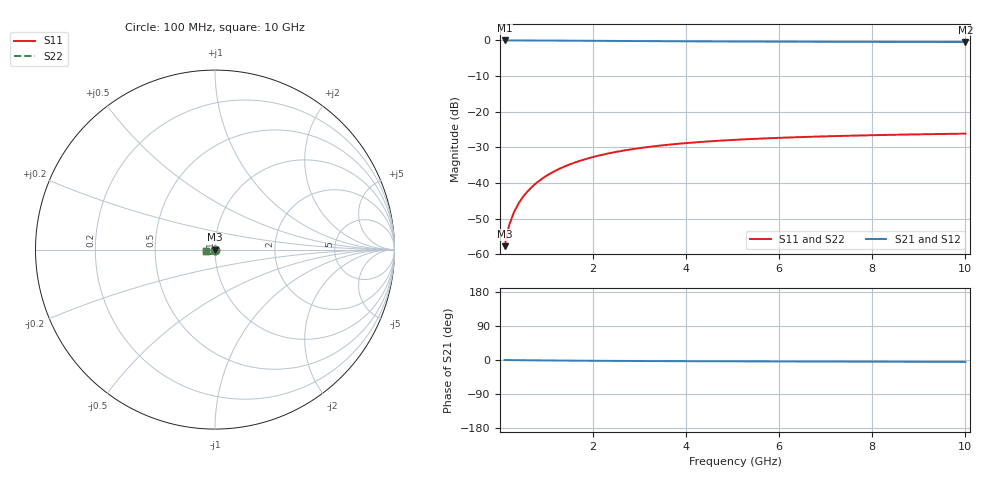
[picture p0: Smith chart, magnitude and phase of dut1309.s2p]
! Touchstone file exported from HFSS 2024.1.0
!  File:  C:/UserFiles/LocalFiles/RDL_TSV_Batchsim/temp_TSV1_1309_1780373393.aedt
!  Generated:  12:15:05 PM Jun  2, 2026
!  Design:  TSV1
!  Project:  temp_TSV1_1309_1780373393
!  Setup:  Setup1
!  Solution:  Sweep
! Variables:
!  dtsv = 10.51um
!  hbump = 3um
!  htsv = 78.71um
!  lrdl = 252.1521522um
!  p = 40
!  p1 = 44.25um
!  t = 500um
!  trdl = 3um
!  wrdl = 24.89489489um
# GHz S MA R 50.000000
! Terminal data exported
! Port[1] = TSV22_T1
! Port[2] = TSV22_T2
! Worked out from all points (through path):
!   100 points, 100 MHz to 10 GHz, reference 50 ohm
!   highest |S21| = 0.00 dB at 100 MHz (marker M1); lowest = -0.4 dB at 10 GHz (marker M2)
!   lowest |S11| = -57.7 dB at 100 MHz (marker M3), VSWR 1.00, Z = 50 - j0.13 ohm
!   |S11| at or under -10 dB: start of sweep to end of sweep
!   |S22| runs from -57.7 to -26.1 dB; largest |S21 - S12| = 5e-15
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0.1  0.001302 -85.8  0.9998 -0.1  0.9998 -0.1  0.001302 -85.8
! Gamma 0 0 0 0
! Port Impedance 50 0 50 0
0.2  0.002596 -90.1  0.9997 -0.2  0.9997 -0.2  0.002596 -90.1
0.3  0.003891 -92.6  0.9995 -0.4  0.9995 -0.4  0.003891 -92.6
0.4  0.005183 -94.6  0.9992 -0.5  0.9992 -0.5  0.005183 -94.6
0.5  0.006467 -96.5  0.9989 -0.6  0.9989 -0.6  0.006467 -96.5
0.6  0.007739 -98.3  0.9985 -0.7  0.9985 -0.7  0.007739 -98.3
0.7  0.008996 -100.0  0.998 -0.8  0.998 -0.8  0.008996 -100.0
0.8  0.01024 -101.6  0.9975 -0.9  0.9975 -0.9  0.01024 -101.6
0.9  0.01145 -103.3  0.997 -1.0  0.997 -1.0  0.01145 -103.3
1.1  0.01383 -106.4  0.9957 -1.3  0.9957 -1.3  0.01383 -106.4
1.4  0.01719 -110.9  0.9935 -1.5  0.9935 -1.5  0.01719 -110.9
1.6  0.0193 -113.8  0.9919 -1.7  0.9919 -1.7  0.0193 -113.8
1.8  0.02129 -116.5  0.9902 -1.9  0.9902 -1.9  0.02129 -116.5
2.1  0.02406 -120.4  0.9875 -2.1  0.9875 -2.1  0.02406 -120.4
2.5  0.02736 -125.2  0.984 -2.4  0.984 -2.4  0.02736 -125.2
2.9  0.03023 -129.5  0.9806 -2.6  0.9806 -2.6  0.03023 -129.5
3.4  0.0333 -134.4  0.9765 -2.9  0.9765 -2.9  0.0333 -134.4
4.2  0.03722 -141.1  0.9709 -3.2  0.9709 -3.2  0.03722 -141.1
5.1  0.04054 -147.4  0.9656 -3.6  0.9656 -3.6  0.04054 -147.4
6.7  0.04461 -156.2  0.9588 -4.1  0.9588 -4.1  0.04461 -156.2
8.4  0.04744 -163.4  0.9538 -4.6  0.9538 -4.6  0.04745 -163.4
10  0.04932 -169.0  0.9506 -5.0  0.9506 -5.0  0.04932 -169.0
